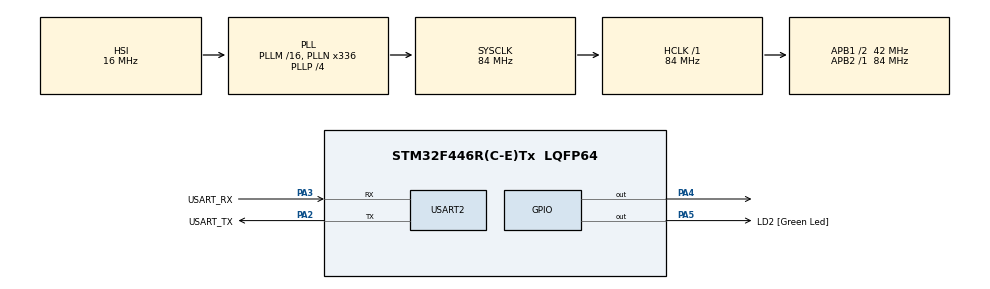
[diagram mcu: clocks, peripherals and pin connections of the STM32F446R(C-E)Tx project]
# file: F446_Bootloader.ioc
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Mcu.Family=STM32F4
Mcu.Name=STM32F446R(C-E)Tx
Mcu.Package=LQFP64
NVIC.PriorityGroup=NVIC_PRIORITYGROUP_0
PA13.GPIO_Label=TMS
PA13.Mode=Serial_Wire
PA13.Signal=SYS_JTMS-SWDIO
PA14.GPIO_Label=TCK
PA14.Mode=Serial_Wire
PA14.Signal=SYS_JTCK-SWCLK
PA2.GPIO_Label=USART_TX
PA2.Mode=Asynchronous
PA2.Signal=USART2_TX
PA3.GPIO_Label=USART_RX
PA3.Mode=Asynchronous
PA3.Signal=USART2_RX
PA4.Signal=GPIO_Output
PA5.GPIO_Label=LD2 [Green Led]
PA5.Signal=GPIO_Output
PB3.GPIO_Label=SWO
PB3.Signal=SYS_JTDO-SWO
PC14-OSC32_IN.Signal=RCC_OSC32_IN
PC15-OSC32_OUT.Signal=RCC_OSC32_OUT
PH0-OSC_IN.Signal=RCC_OSC_IN
PH1-OSC_OUT.Signal=RCC_OSC_OUT
ProjectManager.HeapSize=0x200
ProjectManager.StackSize=0x400
ProjectManager.TargetToolchain=STM32CubeIDE
RCC.AHBFreq_Value=84000000
RCC.APB1CLKDivider=RCC_HCLK_DIV2
RCC.APB1Freq_Value=42000000
RCC.APB1TimFreq_Value=84000000
RCC.APB2Freq_Value=84000000
RCC.APB2TimFreq_Value=84000000
RCC.CortexFreq_Value=84000000
RCC.FLatency-AdvancedSettings=FLASH_LATENCY_2
RCC.HCLKFreq_Value=84000000
RCC.HSE_VALUE=8000000
RCC.HSI_VALUE=16000000
RCC.LSE_VALUE=32768
RCC.PLLN=336
RCC.PLLP=RCC_PLLP_DIV4
RCC.SYSCLKFreq_VALUE=84000000
RCC.SYSCLKSource=RCC_SYSCLKSOURCE_PLLCLK
RCC.USBFreq_Value=168000000
RCC.VCOOutputFreq_Value=336000000
USART2.VirtualMode=VM_ASYNC
VP_CRC_VS_CRC.Mode=CRC_Activate
board=NUCLEO-F446RE

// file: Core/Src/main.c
/* USER CODE BEGIN Header */
/**
  ******************************************************************************
  * @file           : main.c
  * @brief          : Main program body
  ******************************************************************************
  * @attention
  *
  * Copyright (c) 2026 STMicroelectronics.
  * All rights reserved.
  *
  * This software is licensed under terms that can be found in the LICENSE file
  * in the root directory of this software component.
  * If no LICENSE file comes with this software, it is provided AS-IS.
  *
  ******************************************************************************
  */
/* USER CODE END Header */
#include "main.h"
#include "crc.h"
#include "usart.h"
#include "gpio.h"

/* USER CODE BEGIN Includes */
#include "bl_jump.h"

/* USER CODE END Includes */

void SystemClock_Config(void);

int main(void)
{

  /* MCU Configuration--------------------------------------------------------*/

  /* Reset of all peripherals, Initializes the Flash interface and the Systick. */
  HAL_Init();

  /* Configure the system clock */
  SystemClock_Config();

  /* Initialize all configured peripherals */
  MX_GPIO_Init();
  MX_USART2_UART_Init();
  MX_CRC_Init();
  /* USER CODE BEGIN 2 */

  HAL_Delay(100);

  HAL_UART_Transmit(&huart2, (uint8_t *)"Bootloader is running...\r\n", 27, 100);

  int app_status = bootloader_is_app_valid();

  if (app_status != 0)
  {
	  HAL_UART_Transmit(&huart2,
			  (uint8_t *)"Failed to jump!\r\n",
			  sizeof("Failed to jump!\r\n") - 1,
			  100);

	  switch (app_status)
	  {
	  case 1:
		  HAL_UART_Transmit(&huart2,
				  (uint8_t *)"Magic number check failed!\r\n",
				  sizeof("Magic number check failed!\r\n") - 1,
				  100);
		  break;

	  case 2:
		  HAL_UART_Transmit(&huart2,
				  (uint8_t *)"Reset handler sanity check failed!\r\n",
				  sizeof("Reset handler sanity check failed!\r\n") - 1,
				  100);
		  break;

      case 3:
    	  HAL_UART_Transmit(&huart2,
    			  (uint8_t *)"Size sanity check failed!\r\n",
				  sizeof("Size sanity check failed!\r\n") - 1,
				  100);
    	  break;

      case 4:
    	  HAL_UART_Transmit(&huart2,
    			  (uint8_t *)"CRC check failed!\r\n",
				  sizeof("CRC check failed!\r\n") - 1,
				  100);
    	  break;

      default:
    	  HAL_UART_Transmit(&huart2,
    			  (uint8_t *)"Unknown validation error!\r\n",
				  sizeof("Unknown validation error!\r\n") - 1,
				  100);
    	  break;
	  }

      while (1)
      {
    	  HAL_GPIO_TogglePin(GPIOA, GPIO_PIN_4);
          HAL_Delay(300);
      }
  }

  JumpToApplication();

  /* USER CODE END 2 */

  /* Infinite loop */
  while (1)
  {

    /* USER CODE BEGIN 3 */

	  HAL_GPIO_TogglePin(GPIOA, GPIO_PIN_4);
	  HAL_Delay(500);
  }
  /* USER CODE END 3 */
}

void SystemClock_Config(void)
{
  RCC_OscInitTypeDef RCC_OscInitStruct = {0};
  RCC_ClkInitTypeDef RCC_ClkInitStruct = {0};

  /** Configure the main internal regulator output voltage
  */
  __HAL_RCC_PWR_CLK_ENABLE();
  __HAL_PWR_VOLTAGESCALING_CONFIG(PWR_REGULATOR_VOLTAGE_SCALE3);

  /** Initializes the RCC Oscillators according to the specified parameters
  * in the RCC_OscInitTypeDef structure.
  */
  RCC_OscInitStruct.OscillatorType = RCC_OSCILLATORTYPE_HSI;
  RCC_OscInitStruct.HSIState = RCC_HSI_ON;
  RCC_OscInitStruct.HSICalibrationValue = RCC_HSICALIBRATION_DEFAULT;
  RCC_OscInitStruct.PLL.PLLState = RCC_PLL_ON;
  RCC_OscInitStruct.PLL.PLLSource = RCC_PLLSOURCE_HSI;
  RCC_OscInitStruct.PLL.PLLM = 16;
  RCC_OscInitStruct.PLL.PLLN = 336;
  RCC_OscInitStruct.PLL.PLLP = RCC_PLLP_DIV4;
  RCC_OscInitStruct.PLL.PLLQ = 2;
  RCC_OscInitStruct.PLL.PLLR = 2;
  if (HAL_RCC_OscConfig(&RCC_OscInitStruct) != HAL_OK)
  {
    Error_Handler();
  }

  /** Initializes the CPU, AHB and APB buses clocks
  */
  RCC_ClkInitStruct.ClockType = RCC_CLOCKTYPE_HCLK|RCC_CLOCKTYPE_SYSCLK
                              |RCC_CLOCKTYPE_PCLK1|RCC_CLOCKTYPE_PCLK2;
  RCC_ClkInitStruct.SYSCLKSource = RCC_SYSCLKSOURCE_PLLCLK;
  RCC_ClkInitStruct.AHBCLKDivider = RCC_SYSCLK_DIV1;
  RCC_ClkInitStruct.APB1CLKDivider = RCC_HCLK_DIV2;
  RCC_ClkInitStruct.APB2CLKDivider = RCC_HCLK_DIV1;

  if (HAL_RCC_ClockConfig(&RCC_ClkInitStruct, FLASH_LATENCY_2) != HAL_OK)
  {
    Error_Handler();
  }
}

void Error_Handler(void)
{
  __disable_irq();
  while (1)
  {
  }
}
